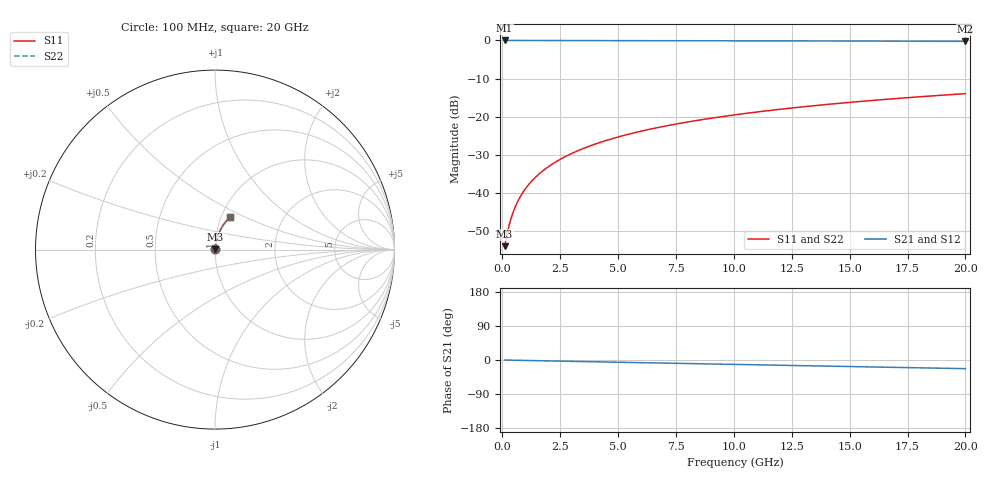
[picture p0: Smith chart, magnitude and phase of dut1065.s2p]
! Touchstone file exported from HFSS 2026.1.0
!  File:  C:/ffzhzh/LocalFiles/Ansys_Project_Files/temp_train_BSMRDL_1065_1783174175_51560.aedt
!  Generated:  10:10:47 PM Jul  4, 2026
!  Design:  BSMRDL
!  Project:  temp_train_BSMRDL_1065_1783174175_51560
! Variables:
!  h_bsmrdl = 4.19um
!  h_ox = 20um
!  h_rdl = 5um
!  h_sub = 80um
!  h_tmrdl = 5um
!  h_tsv = 80um
!  h_via = 3um
!  l_bsmrdl = 327.08um
!  l_sub = 727.08um
!  l_tmrdl = 200um
!  m_sub = 200um
!  pitch = 38.53um
!  r_tsv = 6um
!  s_tmrdl = 10um
!  w_bsmrdl = 19.22um
!  w_sub = 500um
!  w_tmrdl = 12um
!  x_tsv_center1 = 206um
!  x_tsv_center2 = 552.3um
!  x_tsv_center3 = 764.3um
!  x_tsv_center4 = 1110.6um
!  x_tsv_center5 = 1322.6um
!  x_tsv_center6 = 1668.9um
# GHz S MA R 50.000000
! Terminal data exported
! Port[1] = BSM_RDL1_1_T1
! Port[2] = BSM_RDL1_1_T2
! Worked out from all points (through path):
!   200 points, 100 MHz to 20 GHz, reference 50 ohm
!   highest |S21| = -0.01 dB at 100 MHz (marker M1); lowest = -0.2 dB at 20 GHz (marker M2)
!   group delay of S21, straight-line fit = 3.16 ps
!   lowest |S11| = -53.9 dB at 100 MHz (marker M3), VSWR 1.00, Z = 50.2 + j0.123 ohm
!   |S11| at or under -10 dB: start of sweep to end of sweep
!   |S22| runs from -53.9 to -13.9 dB; largest |S21 - S12| = 2.3e-15
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0.1  0.002024 37.2  0.9984 -0.1  0.9984 -0.1  0.002024 37.2
! Gamma 0 0 0 0
! Port Impedance 50 0 50 0
0.2  0.002854 54.7  0.9983 -0.2  0.9983 -0.2  0.002871 54.3
0.3  0.003843 64.0  0.9982 -0.4  0.9982 -0.4  0.00385 63.5
0.4  0.004895 69.3  0.9981 -0.5  0.9981 -0.5  0.004892 68.9
0.5  0.005974 72.6  0.9981 -0.6  0.9981 -0.6  0.005963 72.3
0.6  0.007064 74.8  0.998 -0.7  0.998 -0.7  0.007048 74.6
0.8  0.009255 77.6  0.998 -1.0  0.998 -1.0  0.009235 77.5
1.1  0.01254 79.7  0.9979 -1.3  0.9979 -1.3  0.01252 79.7
1.5  0.0169 81.1  0.9977 -1.8  0.9977 -1.8  0.01689 81.1
1.8  0.02016 81.6  0.9976 -2.1  0.9976 -2.1  0.02015 81.6
2.1  0.02341 81.8  0.9974 -2.5  0.9974 -2.5  0.02341 81.8
2.7  0.02989 81.9  0.997 -3.2  0.997 -3.2  0.02989 81.9
3.5  0.03849 81.6  0.9964 -4.2  0.9964 -4.2  0.03849 81.6
4.2  0.04595 81.1  0.9958 -5.0  0.9958 -5.0  0.04595 81.1
5  0.0544 80.5  0.9951 -5.9  0.9951 -5.9  0.0544 80.5
5.9  0.06382 79.6  0.9941 -6.9  0.9941 -6.9  0.06382 79.6
6.8  0.07314 78.7  0.9931 -8.0  0.9931 -8.0  0.07314 78.7
8.3  0.08849 77.2  0.9914 -9.7  0.9914 -9.7  0.08849 77.2
10.1  0.1066 75.4  0.989 -11.8  0.989 -11.8  0.1066 75.4
13.4  0.1391 72.0  0.9841 -15.5  0.9841 -15.5  0.1391 72.0
16.7  0.1705 68.5  0.9785 -19.2  0.9785 -19.2  0.1705 68.5
20  0.2008 65.1  0.9722 -22.8  0.9722 -22.8  0.2008 65.1
